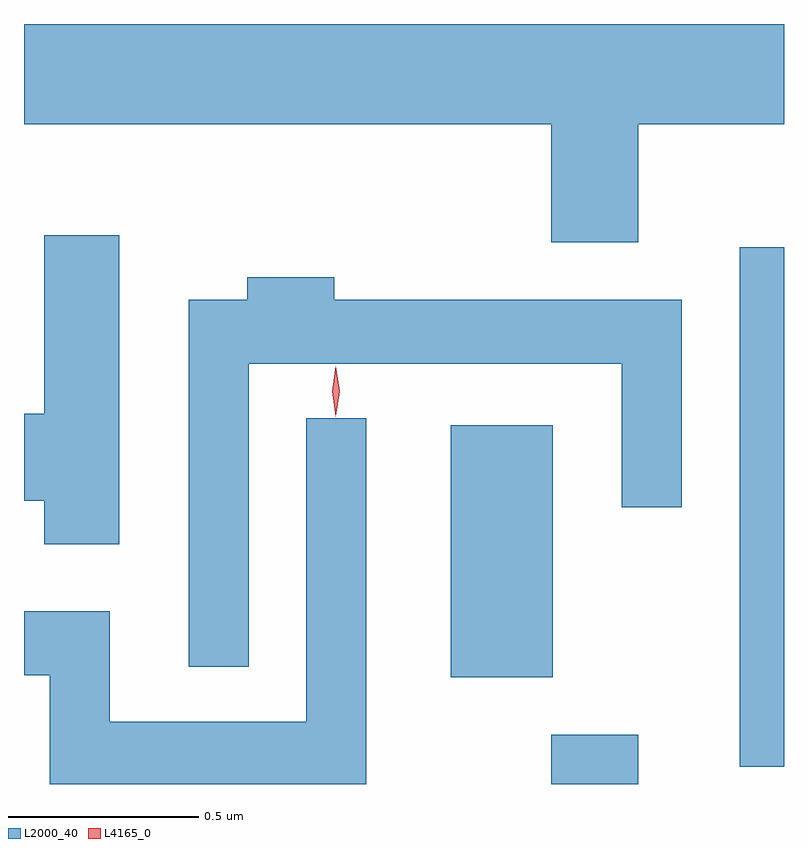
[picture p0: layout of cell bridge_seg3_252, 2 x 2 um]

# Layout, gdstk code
import gdstk
lib = gdstk.Library(unit=1e-6, precision=1e-09)
def R(c, l, rs):  # rectangles x0, y0, x1, y1
    for r in rs: c.add(gdstk.rectangle(r[:2], r[2:], *l))
def P(c, l, *ps):  # polygons
    for p in ps: c.add(gdstk.Polygon(p, *l))
L2000_40 = (2000, 40)
L4165_0 = (4165, 0)

bridge_seg3_252 = lib.new_cell('bridge_seg3_252')
R(bridge_seg3_252, L2000_40, [(932.211,1137.6,932.439,1137.729), (932.706,1137.646,932.823,1139.013), (931.946,1137.881,932.214,1138.544)])
P(bridge_seg3_252, L2000_40, [(932.439,1139.336),(932.823,1139.336),(932.823,1139.6),(930.823,1139.6),(930.823,1139.336),(932.211,1139.336),(932.211,1139.026),(932.439,1139.026)],
  [(931.074,1139.044),(930.876,1139.044),(930.876,1138.574),(930.823,1138.574),(930.823,1138.346),(930.876,1138.346),(930.876,1138.231),(931.074,1138.231)],
  [(931.414,1138.706),(932.396,1138.706),(932.396,1138.328),(932.554,1138.328),(932.554,1138.874),(931.639,1138.874),(931.639,1138.934),(931.411,1138.934),(931.411,1138.874),(931.256,1138.874),(931.256,1137.908),(931.414,1137.908)],
  [(931.724,1138.563),(931.566,1138.563),(931.566,1137.764),(931.049,1137.764),(931.049,1138.054),(930.823,1138.054),(930.823,1137.886),(930.891,1137.886),(930.891,1137.6),(931.724,1137.6)])
P(bridge_seg3_252, L4165_0, [(931.644,1138.567),(931.643,1138.568),(931.634,1138.634),(931.643,1138.7),(931.643,1138.7),(931.644,1138.7),(931.654,1138.634),(931.644,1138.568)])

lib.write_gds('bridge_seg3_252.gds')
